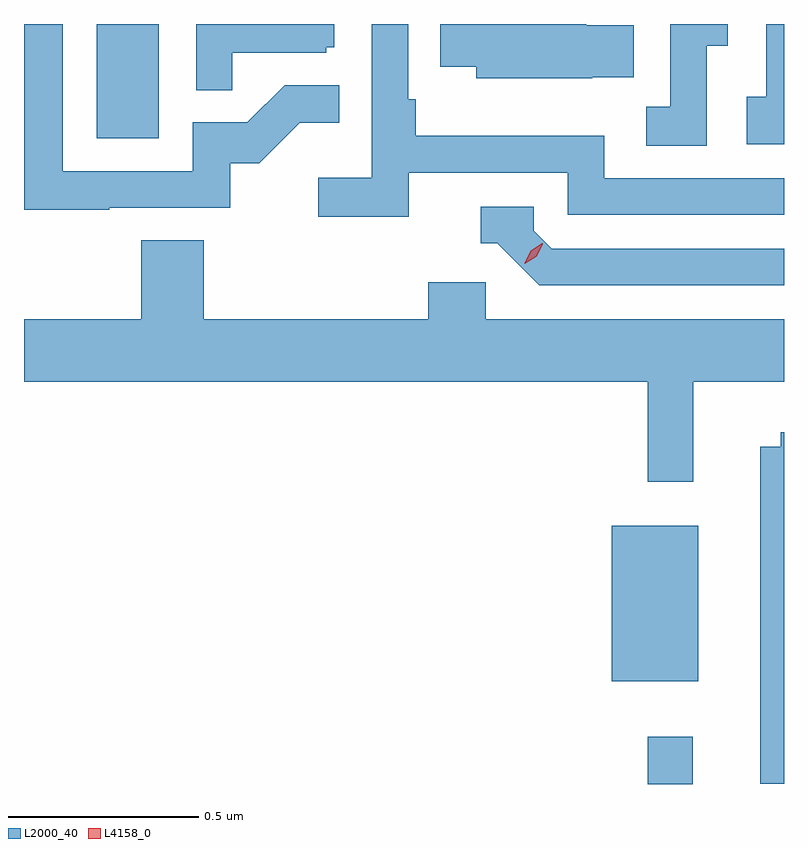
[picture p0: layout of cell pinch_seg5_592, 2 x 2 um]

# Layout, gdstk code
import gdstk
lib = gdstk.Library(unit=1e-6, precision=1e-09)
def R(c, l, rs):  # rectangles x0, y0, x1, y1
    for r in rs: c.add(gdstk.rectangle(r[:2], r[2:], *l))
def P(c, l, *ps):  # polygons
    for p in ps: c.add(gdstk.Polygon(p, *l))
L2000_40 = (2000, 40)
L4158_0 = (4158, 0)

pinch_seg5_592 = lib.new_cell('pinch_seg5_592')
R(pinch_seg5_592, L2000_40, [(1133.359,854.369,1133.477,854.494), (1133.264,854.639,1133.491,855.049), (1131.908,856.068,1132.072,856.369)])
P(pinch_seg5_592, L2000_40, [(1132.73,855.978),(1133.148,855.978),(1133.148,855.867),(1133.717,855.867),(1133.717,855.963),(1133.244,855.963),(1133.244,856.075),(1132.748,856.075),(1132.748,856.171),(1132.728,856.171),(1132.728,856.369),(1132.632,856.369),(1132.632,855.964),(1132.491,855.964),(1132.491,855.862),(1132.73,855.862)],
  [(1132.265,856.293),(1132.512,856.293),(1132.512,856.308),(1132.534,856.308),(1132.534,856.369),(1132.17,856.369),(1132.17,856.195),(1132.265,856.195)],
  [(1131.941,855.885),(1132.26,855.885),(1132.26,856.002),(1132.336,856.002),(1132.443,856.109),(1132.547,856.109),(1132.547,856.208),(1132.403,856.208),(1132.305,856.11),(1132.161,856.11),(1132.161,855.981),(1131.819,855.981),(1131.819,856.369),(1131.717,856.369),(1131.717,855.88),(1131.941,855.88)],
  [(1133.717,856.369),(1133.67,856.369),(1133.67,856.178),(1133.619,856.178),(1133.619,856.053),(1133.717,856.053)],
  [(1133.213,856.229),(1133.321,856.229),(1133.321,856.366),(1133.196,856.366),(1133.196,856.369),(1132.813,856.369),(1132.813,856.256),(1132.907,856.256),(1132.907,856.226),(1133.213,856.226)],
  [(1133.514,856.312),(1133.569,856.312),(1133.569,856.369),(1133.418,856.369),(1133.418,856.151),(1133.355,856.151),(1133.355,856.048),(1133.514,856.048)],
  [(1133.717,855.777),(1133.106,855.777),(1133.058,855.825),(1133.058,855.888),(1132.919,855.888),(1132.919,855.792),(1132.962,855.792),(1133.073,855.681),(1133.717,855.681)],
  [(1133.478,855.428),(1133.717,855.428),(1133.717,855.592),(1132.932,855.592),(1132.932,855.69),(1132.781,855.69),(1132.781,855.592),(1132.19,855.592),(1132.19,855.8),(1132.025,855.8),(1132.025,855.592),(1131.717,855.592),(1131.717,855.428),(1133.359,855.428),(1133.359,855.165),(1133.478,855.165)],
  [(1133.717,855.295),(1133.708,855.295),(1133.708,855.256),(1133.654,855.256),(1133.654,854.37),(1133.717,854.37)])
P(pinch_seg5_592, L4158_0, [(1133.035,855.738),(1133.035,855.739),(1133.051,855.772),(1133.081,855.792),(1133.082,855.792),(1133.082,855.791),(1133.066,855.758),(1133.035,855.738)])

lib.write_gds('pinch_seg5_592.gds')
